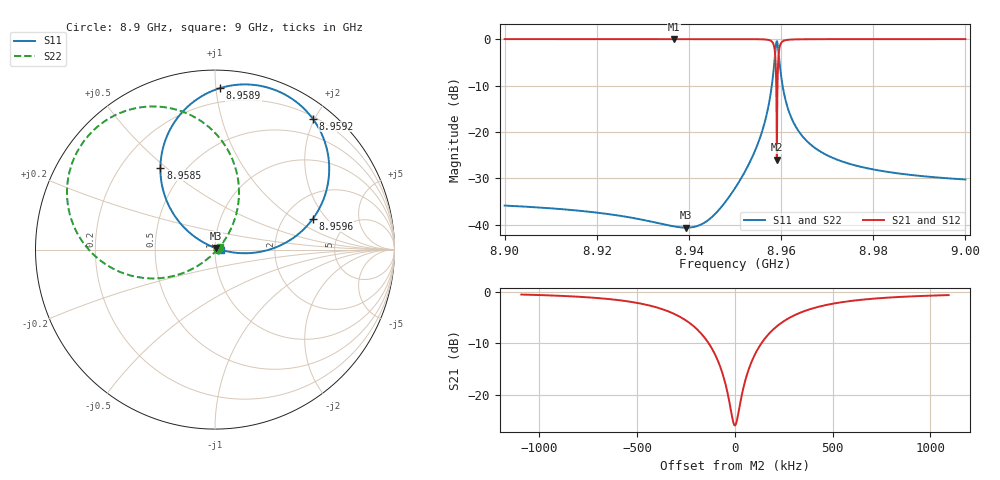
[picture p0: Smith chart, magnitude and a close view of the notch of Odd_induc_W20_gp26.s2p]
! Sonnet Data File
! From: emgraph Version : 16.52
! From Project: Resonator2_cp
! Data is De-embedded
! Data File Written: 10/09/2017 11:12:09
!< HDATE 10/09/2017 07:45:37
!< MDATE 10/09/2017 07:45:37
!< PARAMS
!< Length = 400.0
!< Pwid1 = 2000.0
!< Pwid2 = 2000.0
!< Air_gap = 12.0
!< Width = 20.0
!< gap = 26.0
!< END PARAMS
# GHZ S MA R 40.14000
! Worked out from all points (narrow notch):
!   1595 points, 8.9 GHz to 9 GHz, reference 40.14 ohm
!   highest |S21| = 0.00 dB at 8.9368 GHz (marker M1); lowest = -26.0 dB at 8.9591 GHz (marker M2)
!   notch at M2: 25.9 dB deep, 184 kHz wide at half that depth
!   lowest |S11| = -40.6 dB at 8.9394 GHz (marker M3), VSWR 1.02, Z = 40.4 + j0.708 ohm
!   |S11| at or under -10 dB: start of sweep to 8.958 GHz; 8.960319 GHz to end of sweep
!   |S22| runs from -40.6 to -0.5 dB; largest |S21 - S12| = 0
!   S11 on the Smith chart (normalised r, x): 8.9 GHz: 1.03, +0.01; 8.9585 GHz: 0.37, +0.48; 8.9589 GHz: 0.11, +1.03; 8.9592 GHz: 0.23, +1.97; 8.9596 GHz: 2.85, +1.46; 9 GHz: 1.06, -0.00
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8.9  0.01616 16.4  0.9999 -75.1  0.9999 -75.1  0.01616 13.5
!< P1 F=8.9 Eeff=(5.24798951 -2.3049e-5) Z0=(40.1339254 8.93825e-5) R=0.0 C=0.0
!< P2 F=8.9 Eeff=(5.24798951 -2.3049e-5) Z0=(40.1339254 8.93825e-5) R=0.0 C=0.0
8.9167  0.01414 22.2  0.9999 -75.4  0.9999 -75.4  0.01413 7.1
8.9334  0.01044 43.8  0.9999 -75.9  0.9999 -75.9  0.01042 -15.4
8.9368  0.009638 56.0  0.9999 -76.0  0.9999 -76.0  0.009604 -27.9
8.9394  0.009347 69.6  0.9999 -76.2  0.9999 -76.2  0.009302 -42.0
8.944496  0.01159 105.7  0.9999 -76.6  0.9999 -76.6  0.01152 -79.2
8.95  0.02482 136.3  0.9996 -77.6  0.9996 -77.6  0.02475 -111.9
8.9567  0.142 147.5  0.9885 -84.5  0.9885 -84.5  0.1418 -137.5
8.9579  0.2935 140.0  0.9506 -93.4  0.9506 -93.4  0.2932 -148.9
8.958522  0.5485 123.7  0.8159 -109.6  0.8159 -109.6  0.5479 -167.1
8.958796  0.7724 105.0  0.582 -126.7  0.582 -126.7  0.7717 173.3
8.958948  0.9004 88.2  0.3209 -139.2  0.3209 -139.2  0.8995 156.1
8.959  0.93 81.4  0.2086 -140.9  0.2086 -140.9  0.929 149.2
8.959084  0.9501 69.9  0.05039 -76.2  0.05039 -76.2  0.9491 137.4
8.959208  0.9103 53.3  0.2922 -12.5  0.2922 -12.5  0.9094 120.5
8.9594  0.7577 33.1  0.6062 -27.3  0.6062 -27.3  0.757 99.8
8.959643  0.5726 17.5  0.7997 -41.5  0.7997 -41.5  0.572 83.6
8.960203  0.3433 2.4  0.9333 -56.3  0.9333 -56.3  0.343 67.0
8.961327  0.1898 -6.0  0.9803 -65.4  0.9803 -65.4  0.1896 56.1
8.9667  0.07136 -8.5  0.9973 -72.3  0.9973 -72.3  0.07132 44.1
8.9834  0.03704 -3.7  0.9993 -74.5  0.9993 -74.5  0.03703 34.8
9  0.03083 -1.2  0.9995 -75.0  0.9995 -75.0  0.03082 31.2
